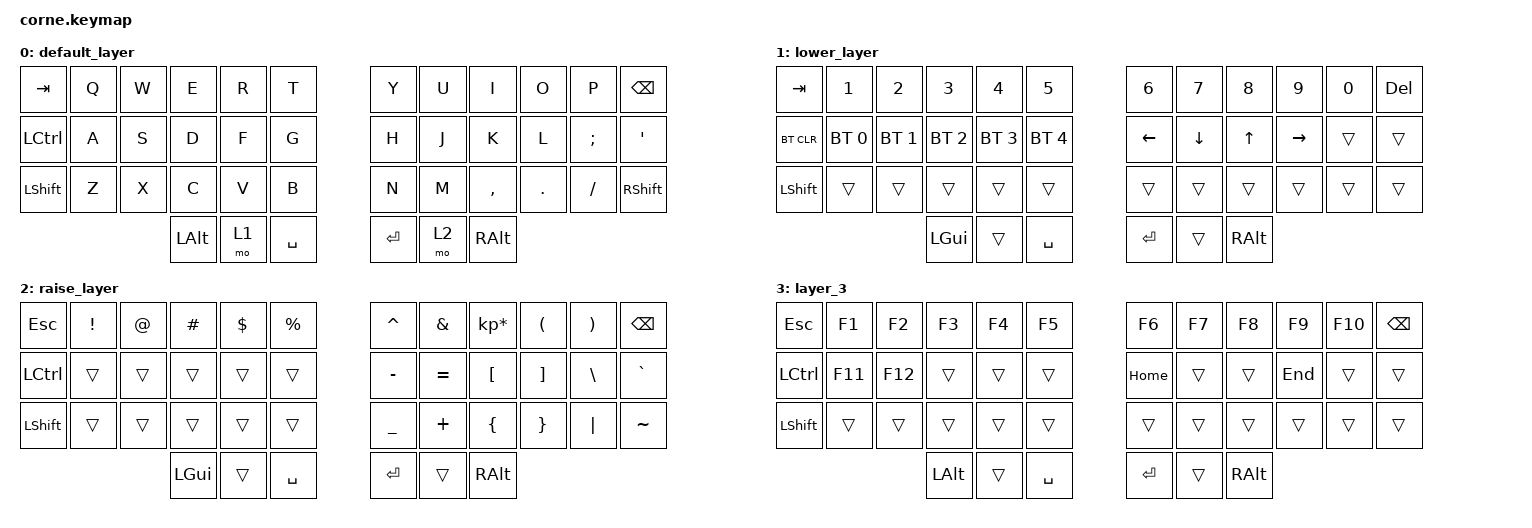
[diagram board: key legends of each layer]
/*
 * Copyright (c) 2020 The ZMK Contributors
 *
 * SPDX-License-Identifier: MIT
 */

#include <behaviors.dtsi>
#include <dt-bindings/zmk/keys.h>
#include <dt-bindings/zmk/bt.h>

/ {
    conditional_layers {
        compatible = "zmk,conditional-layers";
        tri_layer {
            if-layers = <1 2>;
            then-layer = <3>;
        };
    };

    keymap {
        compatible = "zmk,keymap";

        default_layer {
            // -----------------------------------------------------------------------------------------
            // |  TAB |  Q  |  W  |  E  |  R  |  T  |   |  Y  |  U   |  I  |  O  |  P  | BKSP  |
            // | CTRL |  A  |  S  |  D  |  F  |  G  |   |  H  |  J   |  K  |  L  |  ;  |  '    |
            // | SHFT |  Z  |  X  |  C  |  V  |  B  |   |  N  |  M   |  ,  |  .  |  /  | RSHFT |
            //                    | ALT | LWR | SPC |   | ENT | RSE  | ALT |
            bindings = <
                &kp TAB   &kp Q &kp W &kp E &kp R &kp T   &kp Y &kp U  &kp I     &kp O   &kp P    &kp BSPC
                &kp LCTRL &kp A &kp S &kp D &kp F &kp G   &kp H &kp J  &kp K     &kp L   &kp SEMI &kp SQT
                &kp LSHFT &kp Z &kp X &kp C &kp V &kp B   &kp N &kp M  &kp COMMA &kp DOT &kp FSLH &kp RSHFT
                            &kp LALT  &mo 1 &kp SPACE     &kp RET &mo 2 &kp RALT
            >;
        };
        lower_layer {
            // -----------------------------------------------------------------------------------------
            // |  TAB |  1  |  2  |  3  |  4  |  5  |   |  6  |  7  |  8  |  9  |  0  | DEL  |
            // | BTCLR| BT1 | BT2 | BT3 | BT4 | BT5 |   | LFT | DWN |  UP | RGT |     |      |
            // | SHFT |     |     |     |     |     |   |     |     |     |     |     |      |
            //                    | GUI |     | SPC |   | ENT |     | ALT |
            bindings = <
                &kp TAB    &kp N1       &kp N2       &kp N3       &kp N4       &kp N5         &kp N6   &kp N7   &kp N8 &kp N9    &kp N0 &kp DEL
                &bt BT_CLR &bt BT_SEL 0 &bt BT_SEL 1 &bt BT_SEL 2 &bt BT_SEL 3 &bt BT_SEL 4   &kp LEFT &kp DOWN &kp UP &kp RIGHT &trans &trans
                &kp LSHFT  &trans       &trans       &trans       &trans       &trans         &trans   &trans   &trans &trans    &trans &trans
                                    &kp LGUI  &trans &kp SPACE                                &kp RET      &trans       &kp RALT
            >;
        };

        raise_layer {
            // -----------------------------------------------------------------------------------------
            // |  ESC |  !  |  @  |  #  |  $  |  %  |   |  ^  |  &  |  *  |  (  |  )  | BKSP |
            // | CTRL |     |     |     |     |     |   |  -  |  =  |  [  |  ]  |  \  |  `   |
            // | SHFT |     |     |     |     |     |   |  _  |  +  |  {  |  }  | "|" |  ~   |
            //                    | GUI |     | SPC |   | ENT |     | ALT |
            bindings = <
                &kp  ESC  &kp EXCL &kp AT &kp HASH &kp DLLR &kp PRCNT   &kp CARET &kp AMPS  &kp KP_MULTIPLY &kp LPAR &kp RPAR &kp BSPC
                &kp LCTRL &trans   &trans &trans   &trans   &trans      &kp MINUS &kp EQUAL &kp LBKT        &kp RBKT &kp BSLH &kp GRAVE
                &kp LSHFT &trans   &trans &trans   &trans   &trans      &kp UNDER &kp PLUS  &kp LBRC        &kp RBRC &kp PIPE &kp TILDE
                                &kp LGUI  &trans   &kp SPACE       &kp RET  &trans      &kp RALT
            >;
        };

        layer_3 {
            // -----------------------------------------------------------------------------------------
            // |  ESC |  F1 |  F2 |  F3 |  F4 |  F5 |   |  F6 |  F7 |  F8 |  F9 | F10 | BKSP |
            // | CTRL | F11 | F12 |     |     |     |   |     |     |     |     |     |      |
            // | SHFT |     |     |     |     |     |   |     |     |     |     |     |      |
            //                    | GUI |     | SPC |   | ENT |     | ALT |
            bindings = <
                &kp  ESC  &kp F1  &kp F2  &kp F3   &kp F4   &kp F5      &kp F6    &kp F7  &kp F8  &kp F9  &kp F10 &kp BSPC
                &kp LCTRL &kp F11 &kp F12 &trans   &trans   &trans      &kp HOME  &trans  &trans  &kp END &trans  &trans
                &kp LSHFT &trans  &trans  &trans   &trans   &trans      &trans    &trans  &trans  &trans  &trans  &trans
                                &kp LALT &trans   &kp SPACE   &kp RET   &trans    &kp RALT
            >;
        };
    };
};
